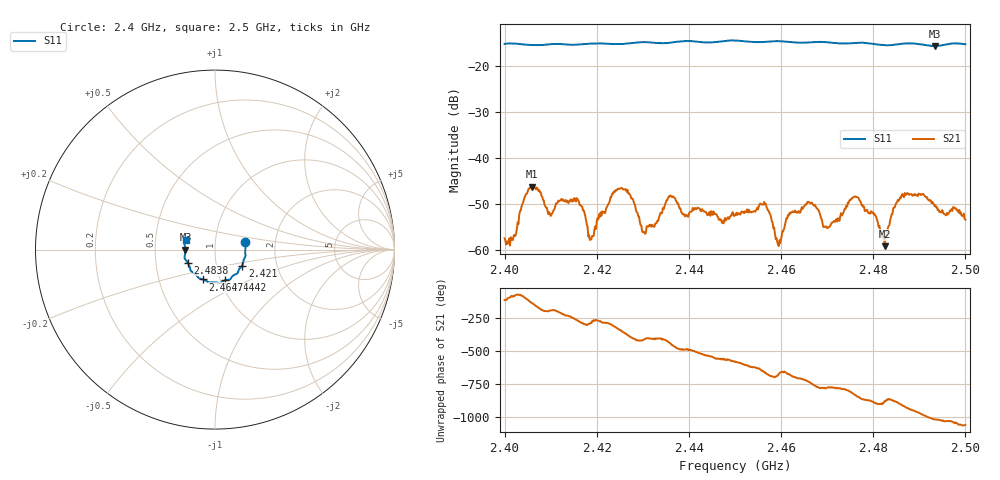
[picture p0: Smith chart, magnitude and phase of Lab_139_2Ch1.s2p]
# Hz S RI R
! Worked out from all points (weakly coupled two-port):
!   601 points, 2.4 GHz to 2.5 GHz, reference 50 ohm
!   highest |S21| = -46.24 dB at 2.406 GHz (marker M1); lowest = -59.2 dB at 2.4825 GHz (marker M2)
!   lowest |S11| = -15.7 dB at 2.4933 GHz (marker M3), VSWR 1.40, Z = 35.8 + j0.0216 ohm
!   |S11| at or under -10 dB: start of sweep to end of sweep
!   S12 and S22 are empty: the file has one direction only
!   S11 on the Smith chart (normalised r, x): 2.4 GHz: 1.40, +0.12; 2.421 GHz: 1.33, -0.24; 2.4442 GHz: 1.05, -0.37; 2.4647 GHz: 0.83, -0.28; 2.4838 GHz: 0.73, -0.11; 2.5 GHz: 0.71, +0.08
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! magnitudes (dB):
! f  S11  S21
! 2.4 GHz  -15.2  -57.5
! 2.406 GHz  -15.4  -46.2
! 2.4167 GHz  -15.3  -50.5
! 2.4187 GHz  -15.1  -57.8
! 2.421 GHz  -15.1  -52.6
! 2.4252 GHz  -15.2  -46.5
! 2.4302 GHz  -14.8  -56.0
! 2.4333 GHz  -15.0  -53.7
! 2.4362 GHz  -14.9  -48.3
! 2.4442 GHz  -14.9  -52.4
! 2.45 GHz  -14.5  -52.3
! 2.4563 GHz  -14.8  -49.5
! 2.4595 GHz  -14.6  -59.2
! 2.4647 GHz  -14.9  -51.0
! 2.4667 GHz  -14.8  -49.7
! 2.4702 GHz  -14.9  -55.2
! 2.4763 GHz  -15.0  -48.5
! 2.4825 GHz  -15.5  -59.2
! 2.4833 GHz  -15.5  -54.8
! 2.4838 GHz  -15.5  -52.9
! 2.4933 GHz  -15.7  -50.5
! 2.5 GHz  -15.3  -53.4
